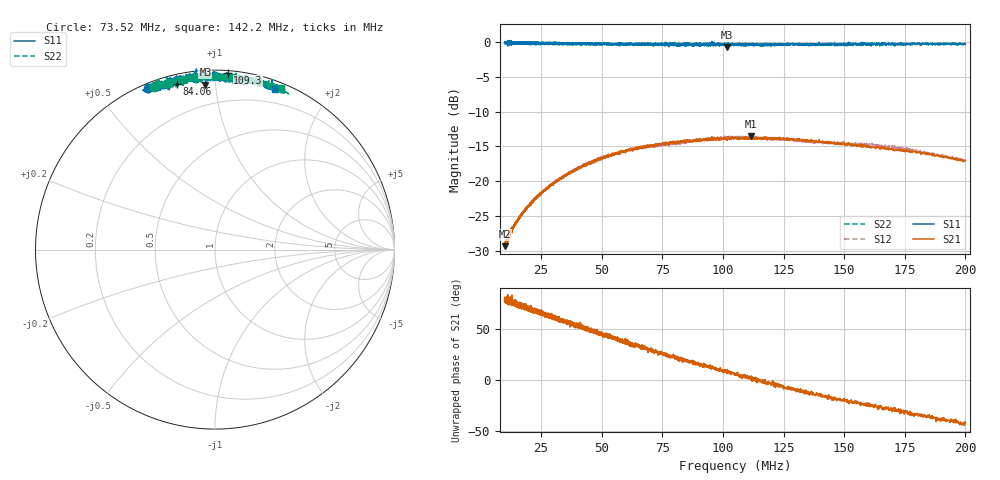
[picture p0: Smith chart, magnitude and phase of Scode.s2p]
#  HZ  S  DB  R  50.0
! Rohde & Schwarz ZVL
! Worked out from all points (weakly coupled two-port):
!   4000 points, 10 MHz to 200 MHz, reference 50 ohm
!   highest |S21| = -13.53 dB at 111.7 MHz (marker M1); lowest = -29.4 dB at 10 MHz (marker M2)
!   lowest |S11| = -0.7 dB at 101.8 MHz (marker M3), VSWR 24.16, Z = 3.91 + j47 ohm
!   |S11| at or under -10 dB: nowhere
!   |S22| runs from -0.7 to 0.2 dB; largest |S21 - S12| = 0.023
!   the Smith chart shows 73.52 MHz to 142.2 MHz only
!   S11 on the Smith chart (normalised r, x): 73.52 MHz: 0.02, +0.67; 84.06 MHz: 0.04, +0.80; 109.3 MHz: 0.01, +1.07; 142.2 MHz: 0.07, +1.44
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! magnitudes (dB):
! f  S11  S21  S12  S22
! 10 MHz  -0.1  -29.4  -29.3  -0.2
! 10.94 MHz  -0.1  -28.5  -28.4  -0.1
! 12.29 MHz  -0.1  -27.4  -27.5  -0.1
! 14.85 MHz  -0.1  -25.8  -25.8  -0.1
! 18.43 MHz  -0.2  -24.1  -24.1  -0.1
! 22.53 MHz  -0.3  -22.7  -22.5  0.0
! 31.09 MHz  -0.3  -20.2  -20.1  -0.2
! 41.7 MHz  -0.3  -18.0  -17.8  -0.3
! 54.73 MHz  -0.2  -16.1  -16.2  -0.3
! 61.6 MHz  -0.3  -15.5  -15.5  -0.3
! 73.35 MHz  -0.4  -14.8  -14.7  -0.2
! 73.52 MHz  -0.2  -14.6  -14.8  -0.3
! 84.06 MHz  -0.5  -14.4  -14.2  -0.2
! 101.8 MHz  -0.7  -14.2  -13.8  -0.4
! 105 MHz  -0.3  -13.9  -13.8  -0.5
! 109.3 MHz  -0.1  -13.6  -13.8  -0.5
! 111.7 MHz  -0.2  -13.5  -13.4  -0.1
! 136.7 MHz  -0.2  -14.1  -14.3  -0.3
! 142.2 MHz  -0.4  -14.5  -14.4  -0.3
! 161.6 MHz  -0.3  -15.1  -14.6  -0.1
! 168.3 MHz  -0.1  -15.2  -15.0  -0.3
! 200 MHz  -0.3  -17.1  -17.0  -0.3
